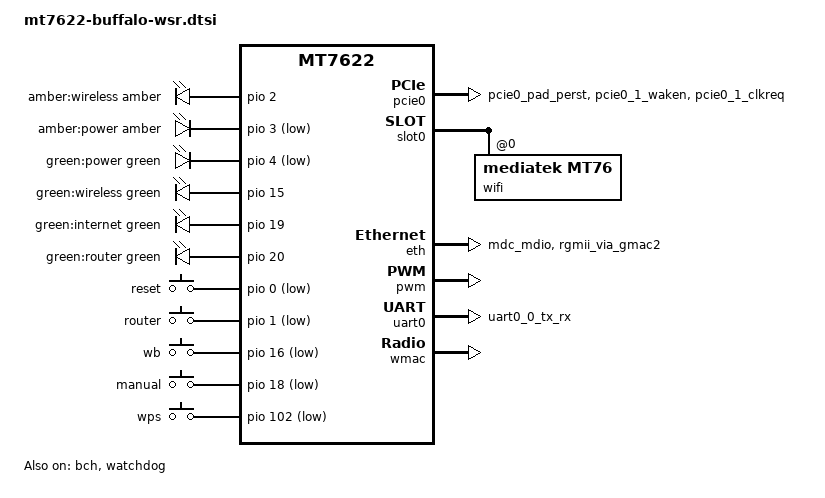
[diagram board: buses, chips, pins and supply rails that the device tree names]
// SPDX-License-Identifier: GPL-2.0-or-later OR MIT
/dts-v1/;

#include <dt-bindings/input/input.h>
#include <dt-bindings/gpio/gpio.h>
#include <dt-bindings/leds/common.h>

#include "mt7622.dtsi"
#include "mt6380.dtsi"

/ {
	aliases {
		serial0 = &uart0;
		led-boot = &power_green;
		led-failsafe = &power_amber;
		led-running = &power_green;
		led-upgrade = &power_green;
	};

	chosen {
		bootargs = "earlycon=uart8250,mmio32,0x11002000 console=ttyS0,115200n8 swiotlb=512";
	};

	leds {
		compatible = "gpio-leds";

		led-0 {
			label = "amber:wireless";
			gpios = <&pio 2 GPIO_ACTIVE_HIGH>;
			color = <LED_COLOR_ID_AMBER>;
			function = LED_FUNCTION_WLAN;
		};

		power_amber: led-1 {
			label = "amber:power";
			gpios = <&pio 3 GPIO_ACTIVE_LOW>;
			color = <LED_COLOR_ID_AMBER>;
			function = LED_FUNCTION_POWER;
		};

		power_green: led-2 {
			label = "green:power";
			gpios = <&pio 4 GPIO_ACTIVE_LOW>;
			color = <LED_COLOR_ID_GREEN>;
			function = LED_FUNCTION_POWER;
		};

		led-3 {
			label = "green:wireless";
			gpios = <&pio 15 GPIO_ACTIVE_HIGH>;
			color = <LED_COLOR_ID_GREEN>;
			function = LED_FUNCTION_WLAN;
		};

		led-4 {
			label = "green:internet";
			gpios = <&pio 19 GPIO_ACTIVE_HIGH>;
			color = <LED_COLOR_ID_GREEN>;
			function = LED_FUNCTION_WAN;
		};

		led-5 {
			label = "green:router";
			gpios = <&pio 20 GPIO_ACTIVE_HIGH>;
			color = <LED_COLOR_ID_GREEN>;
			function = LED_FUNCTION_INDICATOR;
		};
	};

	keys {
		compatible = "gpio-keys";

		key-reset {
			label = "reset";
			gpios = <&pio 0 GPIO_ACTIVE_LOW>;
			linux,code = <KEY_RESTART>;
		};

		/* GPIO 1 and 16 are a tri-state switch button with
		 * ROUTER / AP / WB.
		 */
		key-router {
			label = "router";
			gpios = <&pio 1 GPIO_ACTIVE_LOW>;
			linux,code = <BTN_0>;
			linux,input-type = <EV_SW>;
		};

		key-bridge {
			label = "wb";
			gpios = <&pio 16 GPIO_ACTIVE_LOW>;
			linux,code = <BTN_1>;
			linux,input-type = <EV_SW>;
		};

		/* GPIO 18 is a switch button with AUTO / MANUAL. */
		key-manual {
			label = "manual";
			gpios = <&pio 18 GPIO_ACTIVE_LOW>;
			linux,code = <BTN_2>;
			linux,input-type = <EV_SW>;
		};

		key-wps {
			label = "wps";
			gpios = <&pio 102 GPIO_ACTIVE_LOW>;
			linux,code = <KEY_WPS_BUTTON>;
		};
	};
};

&cpu0 {
	proc-supply = <&mt6380_vcpu_reg>;
	sram-supply = <&mt6380_vm_reg>;
};

&cpu1 {
	proc-supply = <&mt6380_vcpu_reg>;
	sram-supply = <&mt6380_vm_reg>;
};

&pcie0 {
	pinctrl-names = "default";
	pinctrl-0 = <&pcie0_pins>;
	status = "okay";
};

&slot0 {
	status = "okay";

	wifi@0,0 {
		compatible = "mediatek,mt76";
		reg = <0x0000 0 0 0 0>;
		mediatek,mtd-eeprom = <&factory 0x5000>;
		ieee80211-freq-limit = <5000000 6000000>;
	};
};

&pio {
	eth_pins: eth-pins {
		mux {
			function = "eth";
			groups = "mdc_mdio", "rgmii_via_gmac2";
		};
	};

	pcie0_pins: pcie0-pins {
		mux {
			function = "pcie";
			groups = "pcie0_pad_perst",
				 "pcie0_1_waken",
				 "pcie0_1_clkreq";
		};
	};

	pmic_bus_pins: pmic-bus-pins {
		mux {
			function = "pmic";
			groups = "pmic_bus";
		};
	};

	uart0_pins: uart0-pins {
		mux {
			function = "uart";
			groups = "uart0_0_tx_rx" ;
		};
	};

	watchdog_pins: watchdog-pins {
		mux {
			function = "watchdog";
			groups = "watchdog";
		};
	};
};

&eth {
	pinctrl-names = "default";
	pinctrl-0 = <&eth_pins>;
	status = "okay";

	gmac0: mac@0 {
		compatible = "mediatek,eth-mac";
		reg = <0>;

		phy-connection-type = "2500base-x";

		fixed-link {
			speed = <2500>;
			full-duplex;
			pause;
		};
	};

	mdio: mdio-bus {
		#address-cells = <1>;
		#size-cells = <0>;
	};
};

&bch {
	status = "okay";
};

&pwm {
	status = "okay";
};

&pwrap {
	pinctrl-names = "default";
	pinctrl-0 = <&pmic_bus_pins>;
	status = "okay";
};

&uart0 {
	pinctrl-names = "default";
	pinctrl-0 = <&uart0_pins>;
	status = "okay";
};

&watchdog {
	pinctrl-names = "default";
	pinctrl-0 = <&watchdog_pins>;
	status = "okay";
};

&wmac {
	status = "okay";

	mediatek,mtd-eeprom = <&factory 0x0>;
};

&rtc {
	status = "disabled";
};
